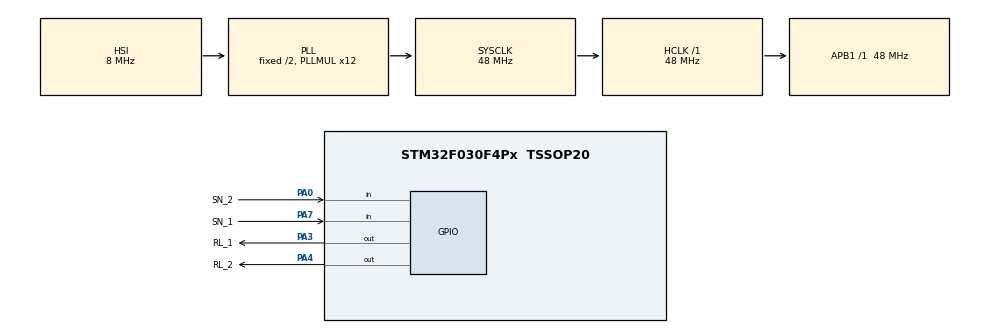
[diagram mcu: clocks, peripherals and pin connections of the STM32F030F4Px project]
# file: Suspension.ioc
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Mcu.Family=STM32F0
Mcu.Name=STM32F030F4Px
Mcu.Package=TSSOP20
NVIC.TIM14_IRQn=true\:0\:0\:false\:false\:true\:true\:true\:true
PA0.GPIO_Label=SN_2
PA0.GPIO_PuPd=GPIO_PULLUP
PA0.Signal=GPIO_Input
PA13.Mode=Serial_Wire
PA13.Signal=SYS_SWDIO
PA14.Mode=Serial_Wire
PA14.Signal=SYS_SWCLK
PA3.GPIO_Label=RL_1
PA3.Signal=GPIO_Output
PA4.GPIO_Label=RL_2
PA4.Signal=GPIO_Output
PA7.GPIO_Label=SN_1
PA7.GPIO_PuPd=GPIO_PULLUP
PA7.Signal=GPIO_Input
PF0-OSC_IN.Mode=HSE-External-Oscillator
PF0-OSC_IN.Signal=RCC_OSC_IN
PF1-OSC_OUT.Mode=HSE-External-Oscillator
PF1-OSC_OUT.Signal=RCC_OSC_OUT
ProjectManager.HeapSize=0x200
ProjectManager.StackSize=0x400
ProjectManager.TargetToolchain=EWARM V8.32
RCC.AHBFreq_Value=48000000
RCC.APB1Freq_Value=48000000
RCC.APB1TimFreq_Value=48000000
RCC.HCLKFreq_Value=48000000
RCC.HSE_VALUE=16000000
RCC.PLLMUL=RCC_PLL_MUL12
RCC.SYSCLKFreq_VALUE=48000000
RCC.SYSCLKSource=RCC_SYSCLKSOURCE_PLLCLK
TIM14.AutoReloadPreload=TIM_AUTORELOAD_PRELOAD_DISABLE
VP_TIM14_VS_ClockSourceINT.Mode=Enable_Timer
board=custom

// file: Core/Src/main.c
/* USER CODE BEGIN Header */
/**
  ******************************************************************************
  * @file           : main.c
  * @brief          : Main program body
  ******************************************************************************
  * @attention
  *
  * Copyright (c) 2023 STMicroelectronics.
  * All rights reserved.
  *
  * This software is licensed under terms that can be found in the LICENSE file
  * in the root directory of this software component.
  * If no LICENSE file comes with this software, it is provided AS-IS.
  *
  ******************************************************************************
  */
/* USER CODE END Header */
#include "main.h"

/* USER CODE BEGIN PM */
uint8_t SN1 = 0;
uint8_t SN2 = 0;
uint8_t direction = 0; // 1:UP   2:DOWN
uint8_t status = 0; // 0:READY   1:BUSSY
double counter = 0;
/* USER CODE END PM */

 TIM_HandleTypeDef htim14;

void SystemClock_Config(void);
static void MX_GPIO_Init(void);
static void MX_TIM14_Init(void);

/* USER CODE BEGIN 0 */
void HAL_TIM_PeriodElapsedCallback(TIM_HandleTypeDef* htim)
{

}
/* USER CODE END 0 */

int main(void)
{

  /* MCU Configuration--------------------------------------------------------*/

  /* Reset of all peripherals, Initializes the Flash interface and the Systick. */
  HAL_Init();

  /* Configure the system clock */
  SystemClock_Config();

  /* Initialize all configured peripherals */
  MX_GPIO_Init();
  MX_TIM14_Init();
  /* USER CODE BEGIN 2 */

  HAL_TIM_Base_Stop_IT(&htim14);

  HAL_GPIO_WritePin(RL_1_GPIO_Port,RL_1_Pin,GPIO_PIN_RESET);
  HAL_GPIO_WritePin(RL_2_GPIO_Port,RL_2_Pin,GPIO_PIN_RESET);
  HAL_Delay(10000);
  /* USER CODE END 2 */

  /* Infinite loop */
  /* USER CODE BEGIN WHILE */
  while (1)
  {
    SN1 = HAL_GPIO_ReadPin(SN_1_GPIO_Port, SN_1_Pin);
    SN2 = HAL_GPIO_ReadPin (SN_2_GPIO_Port, SN_2_Pin);
    if(SN1 && SN2){
      HAL_GPIO_WritePin(RL_1_GPIO_Port,RL_1_Pin,GPIO_PIN_RESET);
      HAL_GPIO_WritePin(RL_2_GPIO_Port,RL_2_Pin,GPIO_PIN_RESET);
      status = 0;
      direction = 0;
      counter = 0;
    }
    if(!SN1 && !SN2){
      HAL_GPIO_WritePin(RL_1_GPIO_Port,RL_1_Pin,GPIO_PIN_RESET);
      HAL_GPIO_WritePin(RL_2_GPIO_Port,RL_2_Pin,GPIO_PIN_RESET);
      status = 0;
      direction = 0;
      counter = 0;
    }
    if(status == 0){
      if(!SN1 && SN2){
        direction = 1;
        status = 1;
      }
      if(!SN2 && SN1){
        direction = 2;
        status = 1;
      }
    }
    else{
      if(counter == 5000){
        if(direction == 1){
          HAL_GPIO_WritePin(RL_1_GPIO_Port,RL_1_Pin,GPIO_PIN_SET);
        }
        if(direction == 2){
          HAL_GPIO_WritePin(RL_2_GPIO_Port,RL_2_Pin,GPIO_PIN_SET);
        }
      }
    }
    /* USER CODE END WHILE */

  }
}

void SystemClock_Config(void)
{
  RCC_OscInitTypeDef RCC_OscInitStruct = {0};
  RCC_ClkInitTypeDef RCC_ClkInitStruct = {0};

  /** Initializes the RCC Oscillators according to the specified parameters
  * in the RCC_OscInitTypeDef structure.
  */
  RCC_OscInitStruct.OscillatorType = RCC_OSCILLATORTYPE_HSI;
  RCC_OscInitStruct.HSIState = RCC_HSI_ON;
  RCC_OscInitStruct.HSICalibrationValue = RCC_HSICALIBRATION_DEFAULT;
  RCC_OscInitStruct.PLL.PLLState = RCC_PLL_ON;
  RCC_OscInitStruct.PLL.PLLSource = RCC_PLLSOURCE_HSI;
  RCC_OscInitStruct.PLL.PLLMUL = RCC_PLL_MUL12;
  RCC_OscInitStruct.PLL.PREDIV = RCC_PREDIV_DIV1;
  if (HAL_RCC_OscConfig(&RCC_OscInitStruct) != HAL_OK)
  {
    Error_Handler();
  }

  /** Initializes the CPU, AHB and APB buses clocks
  */
  RCC_ClkInitStruct.ClockType = RCC_CLOCKTYPE_HCLK|RCC_CLOCKTYPE_SYSCLK
                              |RCC_CLOCKTYPE_PCLK1;
  RCC_ClkInitStruct.SYSCLKSource = RCC_SYSCLKSOURCE_PLLCLK;
  RCC_ClkInitStruct.AHBCLKDivider = RCC_SYSCLK_DIV1;
  RCC_ClkInitStruct.APB1CLKDivider = RCC_HCLK_DIV1;

  if (HAL_RCC_ClockConfig(&RCC_ClkInitStruct, FLASH_LATENCY_1) != HAL_OK)
  {
    Error_Handler();
  }
}

static void MX_TIM14_Init(void)
{

  htim14.Instance = TIM14;
  htim14.Init.Prescaler = 0;
  htim14.Init.CounterMode = TIM_COUNTERMODE_UP;
  htim14.Init.Period = 65535;
  htim14.Init.ClockDivision = TIM_CLOCKDIVISION_DIV1;
  htim14.Init.AutoReloadPreload = TIM_AUTORELOAD_PRELOAD_DISABLE;
  if (HAL_TIM_Base_Init(&htim14) != HAL_OK)
  {
    Error_Handler();
  }

}

static void MX_GPIO_Init(void)
{
  GPIO_InitTypeDef GPIO_InitStruct = {0};

  /* GPIO Ports Clock Enable */
  __HAL_RCC_GPIOF_CLK_ENABLE();
  __HAL_RCC_GPIOA_CLK_ENABLE();

  /*Configure GPIO pin Output Level */
  HAL_GPIO_WritePin(GPIOA, RL_1_Pin|RL_2_Pin, GPIO_PIN_RESET);

  /*Configure GPIO pins : SN_2_Pin SN_1_Pin */
  GPIO_InitStruct.Pin = SN_2_Pin|SN_1_Pin;
  GPIO_InitStruct.Mode = GPIO_MODE_INPUT;
  GPIO_InitStruct.Pull = GPIO_PULLUP;
  HAL_GPIO_Init(GPIOA, &GPIO_InitStruct);

  /*Configure GPIO pins : RL_1_Pin RL_2_Pin */
  GPIO_InitStruct.Pin = RL_1_Pin|RL_2_Pin;
  GPIO_InitStruct.Mode = GPIO_MODE_OUTPUT_PP;
  GPIO_InitStruct.Pull = GPIO_NOPULL;
  GPIO_InitStruct.Speed = GPIO_SPEED_FREQ_LOW;
  HAL_GPIO_Init(GPIOA, &GPIO_InitStruct);

}

void Error_Handler(void)
{
  __disable_irq();
  while (1)
  {
  }
}
